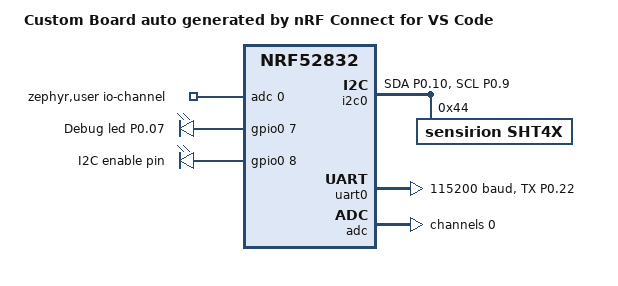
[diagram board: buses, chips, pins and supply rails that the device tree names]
/dts-v1/;
#include <nordic/nrf52832_qfaa.dtsi>
#include "Gwen-pinctrl.dtsi"

/ {
	model = "Custom Board auto generated by nRF Connect for VS Code";
	compatible = "LignaEnergy,Gwen";

	chosen {
		zephyr,sram = &sram0;
		zephyr,flash = &flash0;
		zephyr,code-partition = &slot0_partition;
	};
};

&flash0 {
	partitions {
		compatible = "fixed-partitions";
		#address-cells = <1>;
		#size-cells = <1>;

		boot_partition: partition@0 {
			label = "mcuboot";
			reg = <0x00000000 DT_SIZE_K(48)>;
		};

		slot0_partition: partition@c000 {
			label = "image-0";
			reg = <0x0000c000 DT_SIZE_K(220)>;
		};

		slot1_partition: partition@43000 {
			label = "image-1";
			reg = <0x00043000 DT_SIZE_K(220)>;
		};

		storage_partition: partition@7a000 {
			label = "storage";
			reg = <0x0007a000 DT_SIZE_K(24)>;
		};
	};
};

// p0.05 ADC-vcap
// p0.07 led
// p0.08 tmpon, p0.09 scl, p0.10 sda
// uart tx p023 (or p022 in your custom), swo p022
// swclk, swdio

/ {
	zephyr,user {
		io-channels = <&adc 0>;
	};

    chosen {
		zephyr,console = &uart0;
    };

	gpo {
        compatible = "gpio-leds";

        led0: led_0 {
			gpios = <&gpio0 7 GPIO_ACTIVE_HIGH>; // Debug LED on P0.07
			label = "Debug led P0.07";
		};
		tmpon: tmp_on {
			gpios = <&gpio0 8 GPIO_ACTIVE_HIGH>; // I2C enable pin on P0.08
			label = "I2C enable pin";
		};
    };
};

&gpio0 {
    status = "okay";
};

&gpiote {
    status = "okay";
};

&i2c0 {
    pinctrl-0 = <&i2c0_default>;
    pinctrl-1 = <&i2c0_sleep>;
    pinctrl-names = "default", "sleep";
    status = "okay";   // <-- ensure i2c0 is enabled

    /* ---- Added SHT4x sensor node ---- */
    sht4x@44 {
        compatible = "sensirion,sht4x";   // driver binding
        reg = <0x44>;                     // I²C address (0x44 or 0x45 possible)
        repeatability = <0>;              // lowest power mode (can change)
        label = "SHT4X";                  // name used by drivers
    };
    /* --------------------------------- */
};

&uart0 {
    status = "okay";
    current-speed = <0x1c200>;
    pinctrl-0 = <&uart0_default>;
    pinctrl-1 = <&uart0_sleep>;
    pinctrl-names = "default", "sleep";
};

&pinctrl {
    status = "okay";

    i2c0_default: i2c0_default {
		group1 {
			psels = <NRF_PSEL(TWIM_SDA, 0, 10)>,
			        <NRF_PSEL(TWIM_SCL, 0, 9)>;
		};
	};

	i2c0_sleep: i2c0_sleep {
		group1 {
			psels = <NRF_PSEL(TWIM_SDA, 0, 10)>,
			        <NRF_PSEL(TWIM_SCL, 0, 9)>;
			low-power-enable;
		};
	};

	uart0_default: uart0_default {
		group1 {
			// psels = <NRF_PSEL(UART_TX, 0, 23)>;
			psels = <NRF_PSEL(UART_TX, 0, 22)>;
		};
	};

	uart0_sleep: uart0_sleep {
		group1 {
			// psels = <NRF_PSEL(UART_TX, 0, 23)>;
			psels = <NRF_PSEL(UART_TX, 0, 22)>;
			low-power-enable;
		};
	};
};

&adc {
	#address-cells = <1>;
	#size-cells = <0>;

	channel@0 {
		reg = <0>;
		zephyr,gain = "ADC_GAIN_1_6";
		zephyr,reference = "ADC_REF_INTERNAL";
		zephyr,acquisition-time = <ADC_ACQ_TIME_DEFAULT>;
		zephyr,input-positive = <NRF_SAADC_AIN3>;   /* measuring P0.05 */
		//zephyr,resolution = <14>;
		//zephyr,oversampling = <8>;
		zephyr,resolution = <10>;
		zephyr,oversampling = <0>;
	};
	status = "okay";
};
